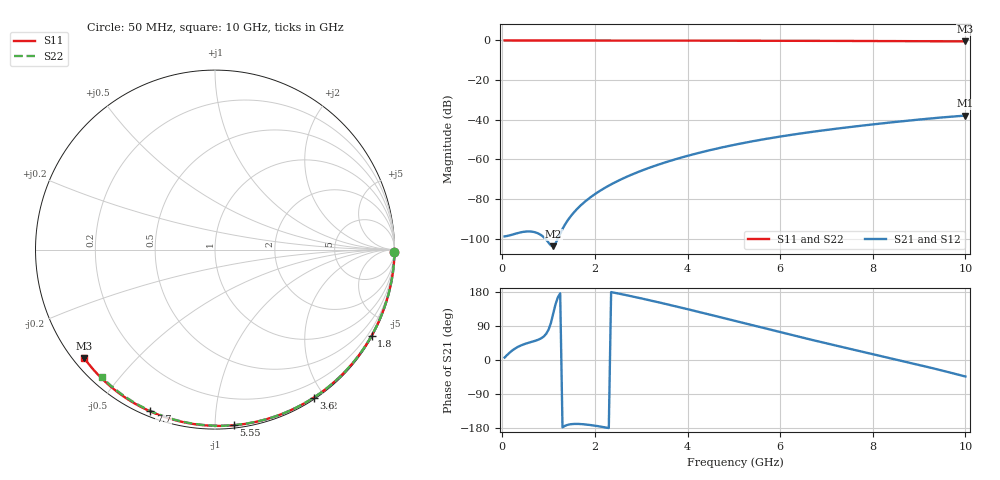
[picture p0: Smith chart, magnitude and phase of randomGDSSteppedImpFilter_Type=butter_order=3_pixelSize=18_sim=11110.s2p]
! freq	dB(S11)	phase(S11)	dB(S12)	phase(S12)
!  dB(S21)	phase(S21)	dB(S22)	phase(S22)
!S-par simulation data
#  GHz  S  DB  R 50
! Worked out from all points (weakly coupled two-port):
!   200 points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, 50 MHz to 10 GHz, reference 50 ohm
!   highest |S21| = -37.95 dB at 10 GHz (marker M1); lowest = -103.9 dB at 1.1 GHz (marker M2)
!   lowest |S11| = -0.5 dB at 10 GHz (marker M3), VSWR 36.72, Z = 1.54 - j18.1 ohm
!   |S11| at or under -10 dB: nowhere
!   |S22| runs from -0.4 to 0.0 dB; largest |S21 - S12| = 0
!   S11 on the Smith chart (normalised r, x): 50 MHz: open; 1.8 GHz: 0.03, -3.89; 3.6 GHz: 0.02, -1.87; 5.55 GHz: 0.02, -1.11; 7.7 GHz: 0.02, -0.68; 10 GHz: 0.03, -0.36
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0.05  -0.00 -0.8  -98.91 6.5  -98.91 6.5  -0.00 -0.8
0.55  -0.01 -8.9  -96.42 44.9  -96.42 44.9  -0.01 -8.4
1.1  -0.02 -17.7  -103.86 122.3  -103.86 122.3  -0.02 -16.6
1.75  -0.04 -28.0  -82.09 -169.6  -82.09 -169.6  -0.03 -26.3
1.8  -0.04 -28.8  -81.10 -170.1  -81.10 -170.1  -0.03 -27.0
1.85  -0.04 -29.6  -80.16 -170.8  -80.16 -170.8  -0.04 -27.7
2.15  -0.04 -34.3  -75.32 -176.3  -75.32 -176.3  -0.04 -32.1
2.35  -0.05 -37.4  -72.65 179.2  -72.65 179.2  -0.05 -35.0
2.55  -0.05 -40.4  -70.29 174.4  -70.29 174.4  -0.05 -37.9
2.95  -0.06 -46.5  -66.25 164.0  -66.25 164.0  -0.06 -43.6
3.4  -0.07 -53.3  -62.46 151.5  -62.46 151.5  -0.07 -50.0
3.6  -0.08 -56.2  -60.96 145.8  -60.96 145.8  -0.07 -52.8
3.9  -0.08 -60.6  -58.90 137.1  -58.90 137.1  -0.08 -56.9
4.3  -0.09 -66.4  -56.44 125.2  -56.44 125.2  -0.09 -62.4
5.05  -0.12 -77.0  -52.50 102.4  -52.50 102.4  -0.11 -72.4
5.55  -0.14 -83.8  -50.29 87.2  -50.29 87.2  -0.13 -78.8
6.1  -0.16 -91.2  -48.15 70.5  -48.15 70.5  -0.15 -85.8
6.7  -0.19 -99.1  -46.11 52.7  -46.11 52.7  -0.18 -93.2
7.7  -0.26 -111.8  -43.18 24.0  -43.18 24.0  -0.24 -105.3
8.35  -0.31 -119.9  -41.49 5.7  -41.49 5.7  -0.29 -112.9
9.2  -0.39 -130.4  -39.49 -18.9  -39.49 -18.9  -0.36 -122.7
10  -0.47 -140.2  -37.95 -43.6  -37.95 -43.6  -0.45 -131.7
